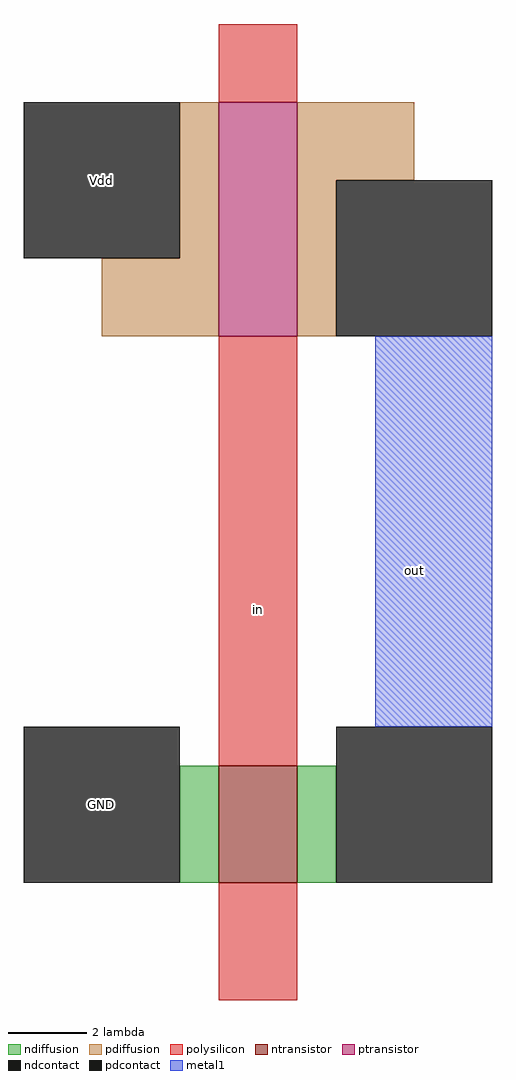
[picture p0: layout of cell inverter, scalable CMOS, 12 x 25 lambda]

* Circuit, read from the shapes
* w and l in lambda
.subckt inverter GND Vdd in out
M1 out in GND VSUBS nfet w=3 l=2
M2 out in Vdd NWELL pfet w=6 l=2
.ends

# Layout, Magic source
magic
tech scmos
<< polysilicon >>
rect 0 13 2 15
rect 0 -4 2 7
rect 0 -10 2 -7
<< ndiffusion >>
rect -1 -7 0 -4
rect 2 -7 3 -4
<< pdiffusion >>
rect -1 9 0 13
rect -3 7 0 9
rect 2 11 5 13
rect 2 7 3 11
<< metal1 >>
rect 4 -3 7 7
<< ntransistor >>
rect 0 -7 2 -4
<< ptransistor >>
rect 0 7 2 13
<< ndcontact >>
rect -5 -7 -1 -3
rect 3 -7 7 -3
<< pdcontact >>
rect -5 9 -1 13
rect 3 7 7 11
<< labels >>
rlabel pdcontact -3 11 -3 11 1 Vdd
rlabel ndcontact -3 -5 -3 -5 1 GND
rlabel polysilicon 1 0 1 0 1 in
rlabel metal1 5 1 5 1 7 out
<< end >>
